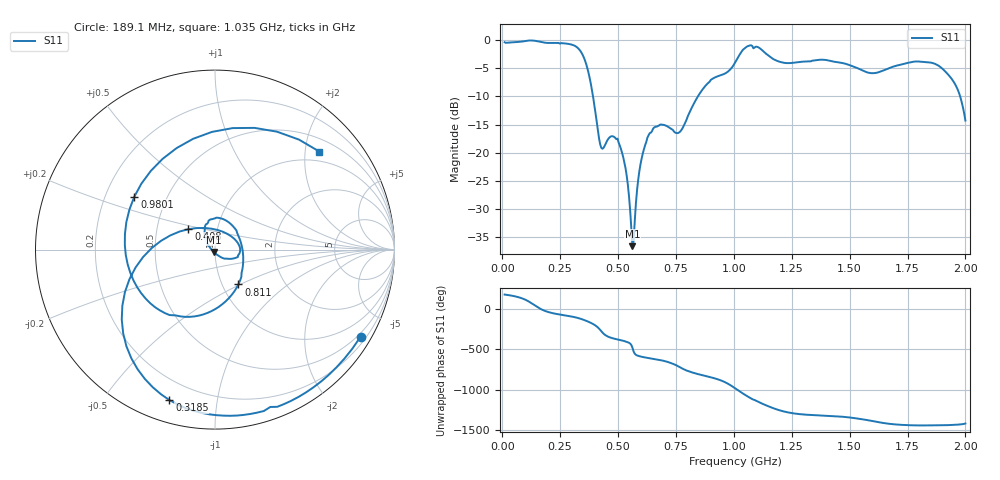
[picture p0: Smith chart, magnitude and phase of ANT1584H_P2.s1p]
!Created with skrf (http://scikit-rf.org).
# Hz S RI R 50.0
!freq ReS11 ImS11
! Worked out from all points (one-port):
!   401 points, 10 MHz to 2 GHz, reference 50 ohm
!   lowest |S11| = -36.6 dB at 562.2 MHz (marker M1), VSWR 1.03, Z = 49.2 - j1.26 ohm
!   |S11| at or under -10 dB: 391.8 MHz to 844.7 MHz (452.9 MHz wide, 73.2 % of centre); 1.977 GHz to end of sweep
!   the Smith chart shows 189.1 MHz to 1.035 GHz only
!   S11 on the Smith chart (normalised r, x): 189.1 MHz: 0.39, -3.57; 318.4 MHz: 0.10, -0.74; 408 MHz: 0.73, +0.17; 811 MHz: 1.19, -0.49; 980.1 MHz: 0.32, +0.27; 1.035 GHz: 0.77, +2.31
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1e7  -0.9547 0.064
7.4675e7  -0.7323 0.6286
1.1945e8  0.147 0.9809
1.54275e8  0.9322 0.2846
1.891e8  0.8107 -0.4859
2.5875e8  0.2337 -0.9086
3.1845e8  -0.2543 -0.838
3.63225e8  -0.5161 -0.3121
4.08e8  -0.1477 0.1139
4.32875e8  0.0433 0.0996
5.075e8  0.105 -0.0489
5.62225e8  -0.00748 -0.0128
5.9705e8  -0.053 0.0592
6.31875e8  -0.0546 0.1327
7.5625e8  0.1436 0.0415
8.10975e8  0.1303 -0.1941
9.10475e8  -0.3075 -0.3383
9.80125e8  -0.4495 0.295
1.005e9  -0.1218 0.6173
1.03485e9  0.5821 0.5458
1.0647e9  0.8769 -0.1497
1.11445e9  0.1489 -0.8261
1.17415e9  -0.5818 -0.3362
1.25375e9  -0.5549 0.2942
1.5025e9  -0.0892 0.59
1.75125e9  0.626 0.0508
1.905475e9  0.5448 0.0339
2e9  0.175 0.0821
